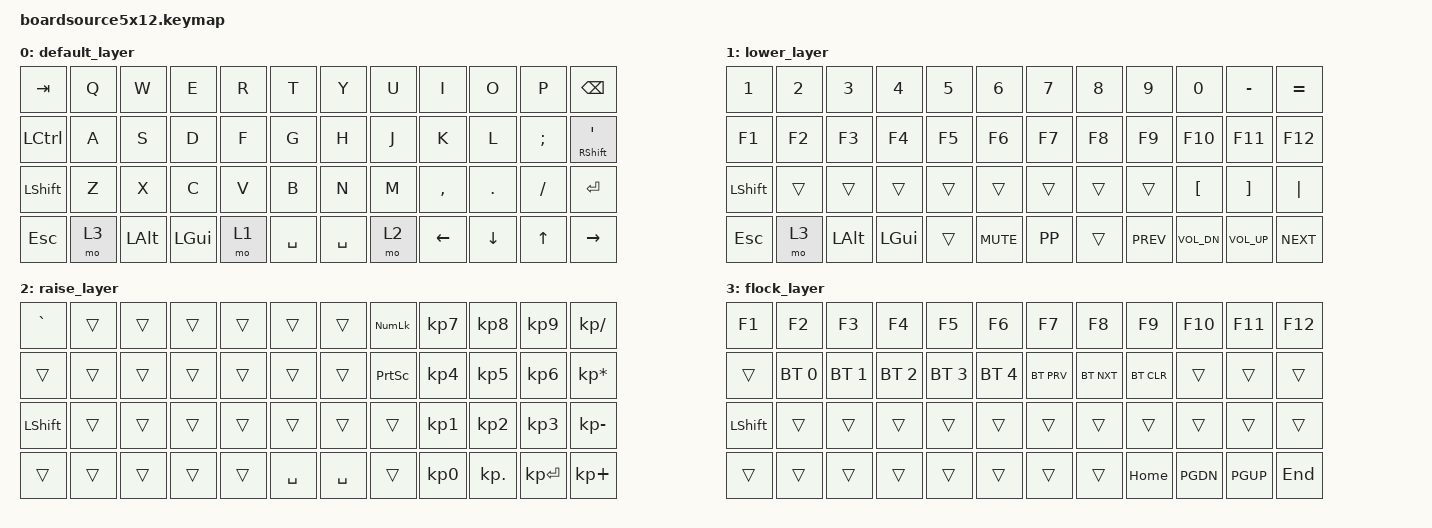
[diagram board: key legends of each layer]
/*
 * Copyright (c) 2021 The ZMK Contributors
 *
 * SPDX-License-Identifier: MIT
 */
 
#include <behaviors.dtsi>
#include <dt-bindings/zmk/keys.h>
#include <dt-bindings/zmk/bt.h>
#include <dt-bindings/zmk/outputs.h>


/ {
    keymap {
        compatible = "zmk,keymap";

        default_layer {
            // ------------------------------------------------------------------------------------------
            // |  TAB  |  Q   |  W   |  E   |  R   |  T   |   Y   |  U    |  I   |  O   |   P   | BSPC  |
            // | CTRL  |  A   |  S   |  D   |  F   |  G   |   H   |  J    |  K   |  L   |   ;   |  '    |
            // | SHFT  |  Z   |  X   |  C   |  V   |  B   |   N   |  M    |  ,   |  .   |   /   | ENTER |
            // | ESC   |ADJUST| LALT | LGUI | LOWR | SPACE| SPACE |  RAIS | LARW | DARW | UARW  | RARW  |


            bindings = <
                &kp TAB    &kp Q        &kp W       &kp E    &kp R      &kp T       &kp Y       &kp U   &kp I       &kp O       &kp P       &kp BSPC
                &kp LCTRL  &kp A        &kp S       &kp D    &kp F      &kp G       &kp H       &kp J   &kp K       &kp L       &kp SEMI    &mt RSHFT SQT
                &kp LSHFT  &kp Z        &kp X       &kp C    &kp V      &kp B       &kp N       &kp M   &kp COMMA   &kp DOT     &kp FSLH    &kp RET
                &kp ESC    &mo 3        &kp LALT    &kp LGUI &mo 1      &kp SPACE   &kp SPACE   &mo 2   &kp LEFT    &kp DOWN    &kp UP      &kp RIGHT 
            >;
        };

        lower_layer {
            // -------------------------------------------------------------------------------------------
            // |   1   |   2   |   3   |  4   |  5   |  6   |   7   |   8   |  9   |   0   |   -   |   =   |
            // |  F1   |   F2  |   F3  |  F4  |  F5  |  F6  |  F7   |  F8   |  F9  |  F10  |  F11  |  F12  |
            // |  SHFT |       |       |      |      |      |       |       |      |   [   |   ]   |   |   |
            // |  ESC  | MO(3) |  ALT  |  WIN |      | MUTE | PL/PS |       | PREV | VOLDN | VOLUP | NEXT  |
            bindings = <
                &kp N1     &kp N2   &kp N3     &kp N4      &kp N5     &kp N6      &kp N7      &kp N8    &kp N9      &kp N0         &kp MINUS      &kp EQUAL
                &kp F1     &kp F2   &kp F3     &kp F4      &kp F5     &kp F6      &kp F7      &kp F8    &kp F9      &kp F10        &kp F11        &kp F12
                &kp LSHFT  &trans   &trans     &trans      &trans     &trans      &trans      &trans    &trans      &kp LBKT       &kp RBKT       &kp PIPE
                &kp ESC    &mo 3    &kp LALT   &kp LGUI    &trans     &kp K_MUTE  &kp K_PP    &trans    &kp K_PREV  &kp K_VOL_DN   &kp K_VOL_UP   &kp K_NEXT
            >;
        };

        raise_layer {
            // ------------------------------------------------------------------------------------------
            // | GRAVE |       |      |      |      |      |      |  NUM  |  7   |  8   |   9   |   /   |
            // |       |       |      |      |      |      |      | PSCRN |  4   |  5   |   6   |   *   |
            // | SHFT  |       |      |      |      |      |      |       |  1   |  2   |   3   |   -   |
            // |  ESC  | MO(3) |  ALT | WIN  |      |  SPC |  SPC |       |  0   |  .   |   =   |   +   |
            bindings = <
                &kp GRAVE   &trans   &trans   &trans   &trans   &trans      &trans      &kp KP_NUM   &kp KP_N7    &kp KP_N8    &kp KP_N9      &kp KP_DIVIDE
                &trans      &trans   &trans   &trans   &trans   &trans      &trans      &kp PSCRN    &kp KP_N4    &kp KP_N5    &kp KP_N6      &kp KP_MULTIPLY
                &kp LSHFT   &trans   &trans   &trans   &trans   &trans      &trans      &trans       &kp KP_N1    &kp KP_N2    &kp KP_N3      &kp KP_MINUS
                &trans      &trans   &trans   &trans   &trans   &kp SPACE   &kp SPACE   &trans       &kp KP_N0    &kp KP_DOT   &kp KP_ENTER   &kp KP_PLUS
            >;
        };

        flock_layer {
            // ------------------------------------------------------------------------------------------------
            // |   F1  |   F2   |   F3   |   F4   |   F5   |   F6   |  F7  |  F8  |  F9  | F10  | F11  | F12  |
            // |       |BT_SEL 0|BT_SEL 1|BT_SEL 2|BT_SEL 3|BT_SEL 4|BT_PRV|BT_NXT|BT_CLR|      |      |      |
            // |  SHFT |        |        |        |        |        |      |      |      |      |      |      |
            // |       |        |        |        |        |        |      |      | HOME | PGDN | PGUP |  END |
            bindings = <
                &kp F1       &kp F2         &kp F3         &kp F4         &kp F5         &kp F6         &kp F7       &kp F8       &kp F9       &kp F10    &kp F11    &kp F12
                &trans       &bt BT_SEL 0   &bt BT_SEL 1   &bt BT_SEL 2   &bt BT_SEL 3   &bt BT_SEL 4   &bt BT_PRV   &bt BT_NXT   &bt BT_CLR   &trans     &trans     &trans
                &kp LSHFT    &trans         &trans         &trans         &trans         &trans         &trans       &trans       &trans       &trans     &trans     &trans
                &trans       &trans         &trans         &trans         &trans         &trans         &trans       &trans       &kp HOME     &kp PGDN   &kp PGUP   &kp END
            >;
        };
    };
};
